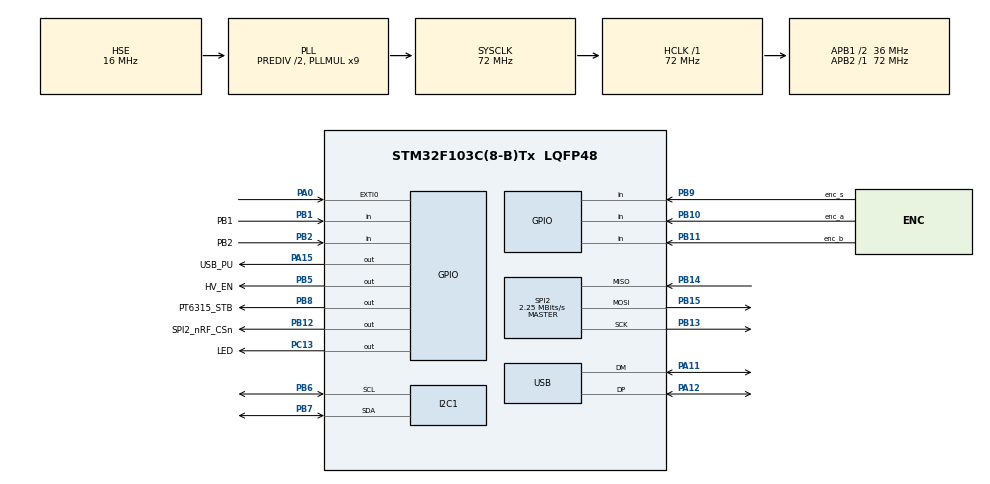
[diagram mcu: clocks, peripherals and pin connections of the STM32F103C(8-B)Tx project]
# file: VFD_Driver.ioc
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Mcu.Family=STM32F1
FREERTOS.Queues01=qUSB_rcv,32,uint8_t,0,Dynamic,NULL,NULL;qVFD,16,uint16_t,0,Dynamic,NULL,NULL
USB_DEVICE.CLASS_NAME_FS=CDC
PB10.GPIO_PuPd=GPIO_PULLUP
SPI2.VirtualType=VM_MASTER
PA11.Mode=Device
NVIC.TIM1_UP_IRQn=true\:0\:0\:false\:false\:true\:false\:false\:true
PB11.GPIO_PuPd=GPIO_PULLUP
PB11.Signal=GPIO_Input
PB13.Signal=SPI2_SCK
PB15.Signal=SPI2_MOSI
RCC.SYSCLKSource=RCC_SYSCLKSOURCE_PLLCLK
ProjectManager.StackSize=0x400
VP_FREERTOS_VS_CMSIS_V2.Mode=CMSIS_V2
PD1-OSC_OUT.Signal=RCC_OSC_OUT
PA15.GPIO_Label=USB_PU
PA12.Signal=USB_DP
SPI2.CLKPolarity=SPI_POLARITY_HIGH
RCC.HCLKFreq_Value=72000000
RCC.APB2TimFreq_Value=72000000
PB6.Signal=I2C1_SCL
PB6.Mode=I2C
RCC.AHBFreq_Value=72000000
SPI2.BaudRatePrescaler=SPI_BAUDRATEPRESCALER_16
RCC.HSE_VALUE=16000000
PB2.Signal=GPIO_Input
RCC.PLLMUL=RCC_PLL_MUL9
PB12.GPIO_Label=SPI2_nRF_CSn
PC13-TAMPER-RTC.PinState=GPIO_PIN_SET
FREERTOS.INCLUDE_xQueueGetMutexHolder=0
PA14.Mode=Serial_Wire
PB14.Mode=Full_Duplex_Master
VP_SYS_VS_tim1.Mode=TIM1
PB1.GPIO_Label=PB1
SPI2.CalculateBaudRate=2.25 MBits/s
PB7.Signal=I2C1_SDA
FREERTOS.configTOTAL_HEAP_SIZE=5020
PB9.Signal=GPIO_Input
Mcu.Package=LQFP48
PB1.Signal=GPIO_Input
NVIC.TimeBase=TIM1_UP_IRQn
SPI2.Mode=SPI_MODE_MASTER
NVIC.TimeBaseIP=TIM1
PB9.GPIO_PuPd=GPIO_PULLUP
PA15.Signal=GPIO_Output
SPI2.CLKPhase=SPI_PHASE_2EDGE
FREERTOS.INCLUDE_vTaskPrioritySet=0
PB5.GPIO_Label=HV_EN
RCC.APB1TimFreq_Value=72000000
SPI2.Direction=SPI_DIRECTION_2LINES
PB13.Mode=Full_Duplex_Master
FREERTOS.Tasks01=defaultTask,24,128,StartDefaultTask,Default,NULL,Dynamic,NULL,NULL;LEDheartbeat,8,128,StartLEDheartbeat,Default,NULL,Dynamic,NULL,NULL;taskUSB_rcv,8,256,StartUSB_rcv,Default,NULL,Dynamic,NULL,NULL;Encoder,8,128,StartEncoder,Default,NULL,Dynamic,NULL,NULL
PD1-OSC_OUT.Mode=HSE-External-Oscillator
PB9.GPIO_Label=enc_s
USB_DEVICE.VirtualModeFS=Cdc_FS
PB11.GPIO_Label=enc_b
PC13-TAMPER-RTC.Signal=GPIO_Output
RCC.USBPrescaler=RCC_USBCLKSOURCE_PLL_DIV1_5
PD0-OSC_IN.Signal=RCC_OSC_IN
RCC.APB1CLKDivider=RCC_HCLK_DIV2
PA0-WKUP.Signal=GPXTI0
PA13.Signal=SYS_JTMS-SWDIO
PB8.GPIO_Label=PT6315_STB
ProjectManager.TargetToolchain=STM32CubeIDE
USB_DEVICE.PRODUCT_STRING_CDC_FS=VFD Driver
PB10.GPIO_Label=enc_a
SPI2.CRCCalculation=SPI_CRCCALCULATION_DISABLE
VP_USB_DEVICE_VS_USB_DEVICE_CDC_FS.Mode=CDC_FS
RCC.USBFreq_Value=48000000
PD0-OSC_IN.Mode=HSE-External-Oscillator
PB10.Signal=GPIO_Input
PB14.Signal=SPI2_MISO
board=custom
PC13-TAMPER-RTC.GPIO_Label=LED
PB15.Mode=Full_Duplex_Master
RCC.APB2Freq_Value=72000000
NVIC.USB_LP_CAN1_RX0_IRQn=true\:5\:0\:false\:false\:true\:true\:false\:true
FREERTOS.INCLUDE_uxTaskPriorityGet=0
PA13.Mode=Serial_Wire
Mcu.Name=STM32F103C(8-B)Tx
NVIC.EXTI0_IRQn=true\:5\:0\:false\:false\:true\:false\:true\:true
RCC.SYSCLKFreq_VALUE=72000000
PB5.Signal=GPIO_Output
PA12.Mode=Device
RCC.HSEDivPLL=RCC_HSE_PREDIV_DIV2
SPI2.FirstBit=SPI_FIRSTBIT_LSB
PA11.Signal=USB_DM
PB7.Mode=I2C
PA14.Signal=SYS_JTCK-SWCLK
PB2.GPIO_Label=PB2
ProjectManager.HeapSize=0x200
FREERTOS.Mutexes01=muI2C,Dynamic,NULL
NVIC.PriorityGroup=NVIC_PRIORITYGROUP_4
PB8.Signal=GPIO_Output
RCC.APB1Freq_Value=36000000
USB_DEVICE.VirtualMode=Cdc
PB12.Signal=GPIO_Output

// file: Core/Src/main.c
/* USER CODE BEGIN Header */
/**
  ******************************************************************************
  * @file           : main.c
  * @brief          : Main program body
  ******************************************************************************
  * @attention
  *
  * <h2><center>&copy; Copyright (c) 2021 STMicroelectronics.
  * All rights reserved.</center></h2>
  *
  * This software component is licensed by ST under BSD 3-Clause license,
  * the "License"; You may not use this file except in compliance with the
  * License. You may obtain a copy of the License at:
  *                        opensource.org/licenses/BSD-3-Clause
  *
  ******************************************************************************
  */

//TODO microrl - separate in library
//TODO enable Watchdog

//TODO PB1 PB2 - buttons
//TODO PB5 HV_EN
//TODO RX2 TX2 PA0 (PSS) - UART

/**
 * 2021 06 21 start of the project
 * Driver for VFD display + clock + playground
 */

/* USER CODE END Header */
#include "main.h"
#include "cmsis_os.h"
#include "i2c.h"
#include "spi.h"
#include "usb_device.h"
#include "gpio.h"

/* USER CODE BEGIN Includes */
#include "microrl.h"
#include "microrl_cmd.h"
#include "usbd_cdc_if.h"

/* USER CODE END Includes */

void SystemClock_Config(void);
void MX_FREERTOS_Init(void);

int main(void)
{

  /* MCU Configuration--------------------------------------------------------*/

  /* Reset of all peripherals, Initializes the Flash interface and the Systick. */
  HAL_Init();

  /* Configure the system clock */
  SystemClock_Config();

  /* Initialize all configured peripherals */
  MX_GPIO_Init();
  MX_SPI2_Init();
  MX_I2C1_Init();

  /* Init scheduler */
  osKernelInitialize();  /* Call init function for freertos objects (in freertos.c) */
  MX_FREERTOS_Init();
  /* Start scheduler */
  osKernelStart();

  /* We should never get here as control is now taken by the scheduler */
  /* Infinite loop */
  while (1)
  {

  }
}

void SystemClock_Config(void)
{
  RCC_OscInitTypeDef RCC_OscInitStruct = {0};
  RCC_ClkInitTypeDef RCC_ClkInitStruct = {0};
  RCC_PeriphCLKInitTypeDef PeriphClkInit = {0};

  /** Initializes the RCC Oscillators according to the specified parameters
  * in the RCC_OscInitTypeDef structure.
  */
  RCC_OscInitStruct.OscillatorType = RCC_OSCILLATORTYPE_HSE;
  RCC_OscInitStruct.HSEState = RCC_HSE_ON;
  RCC_OscInitStruct.HSEPredivValue = RCC_HSE_PREDIV_DIV2;
  RCC_OscInitStruct.HSIState = RCC_HSI_ON;
  RCC_OscInitStruct.PLL.PLLState = RCC_PLL_ON;
  RCC_OscInitStruct.PLL.PLLSource = RCC_PLLSOURCE_HSE;
  RCC_OscInitStruct.PLL.PLLMUL = RCC_PLL_MUL9;
  if (HAL_RCC_OscConfig(&RCC_OscInitStruct) != HAL_OK)
  {
    Error_Handler();
  }
  /** Initializes the CPU, AHB and APB buses clocks
  */
  RCC_ClkInitStruct.ClockType = RCC_CLOCKTYPE_HCLK|RCC_CLOCKTYPE_SYSCLK
                              |RCC_CLOCKTYPE_PCLK1|RCC_CLOCKTYPE_PCLK2;
  RCC_ClkInitStruct.SYSCLKSource = RCC_SYSCLKSOURCE_PLLCLK;
  RCC_ClkInitStruct.AHBCLKDivider = RCC_SYSCLK_DIV1;
  RCC_ClkInitStruct.APB1CLKDivider = RCC_HCLK_DIV2;
  RCC_ClkInitStruct.APB2CLKDivider = RCC_HCLK_DIV1;

  if (HAL_RCC_ClockConfig(&RCC_ClkInitStruct, FLASH_LATENCY_2) != HAL_OK)
  {
    Error_Handler();
  }
  PeriphClkInit.PeriphClockSelection = RCC_PERIPHCLK_USB;
  PeriphClkInit.UsbClockSelection = RCC_USBCLKSOURCE_PLL_DIV1_5;
  if (HAL_RCCEx_PeriphCLKConfig(&PeriphClkInit) != HAL_OK)
  {
    Error_Handler();
  }
}

 /**
  * @brief  Period elapsed callback in non blocking mode
  * @note   This function is called  when TIM1 interrupt took place, inside
  * HAL_TIM_IRQHandler(). It makes a direct call to HAL_IncTick() to increment
  * a global variable "uwTick" used as application time base.
  * @param  htim : TIM handle
  * @retval None
  */
void HAL_TIM_PeriodElapsedCallback(TIM_HandleTypeDef *htim)
{
  if (htim->Instance == TIM1) {
    HAL_IncTick();
  }
}

void Error_Handler(void)
{
  __disable_irq();
  while (1)
  {
  }
}

/************************ (C) COPYRIGHT STMicroelectronics *****END OF FILE****/

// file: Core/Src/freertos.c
/* USER CODE BEGIN Header */
/**
  ******************************************************************************
  * File Name          : freertos.c
  * Description        : Code for freertos applications
  ******************************************************************************
  * @attention
  *
  * <h2><center>&copy; Copyright (c) 2021 STMicroelectronics.
  * All rights reserved.</center></h2>
  *
  * This software component is licensed by ST under Ultimate Liberty license
  * SLA0044, the "License"; You may not use this file except in compliance with
  * the License. You may obtain a copy of the License at:
  *                             www.st.com/SLA0044
  *
  ******************************************************************************
  */
/* USER CODE END Header */

#include "FreeRTOS.h"
#include "task.h"
#include "main.h"
#include "cmsis_os.h"

/* USER CODE BEGIN Includes */
#include "freertos_inc.h"
#include "microrl_cmd.h"
#include "spi.h"
#include "vfd.h"
#include "i2c.h"
#include "d3231.h"
/* USER CODE END Includes */

/* USER CODE BEGIN Variables */
uint16_t encoder_value = 0;
uint16_t tick_counter = 0;

/* USER CODE END Variables */
/* Definitions for defaultTask */
osThreadId_t defaultTaskHandle;
const osThreadAttr_t defaultTask_attributes = {
  .name = "defaultTask",
  .stack_size = 128 * 4,
  .priority = (osPriority_t) osPriorityNormal,
};
/* Definitions for LEDheartbeat */
osThreadId_t LEDheartbeatHandle;
const osThreadAttr_t LEDheartbeat_attributes = {
  .name = "LEDheartbeat",
  .stack_size = 128 * 4,
  .priority = (osPriority_t) osPriorityLow,
};
/* Definitions for taskUSB_rcv */
osThreadId_t taskUSB_rcvHandle;
const osThreadAttr_t taskUSB_rcv_attributes = {
  .name = "taskUSB_rcv",
  .stack_size = 256 * 4,
  .priority = (osPriority_t) osPriorityLow,
};
/* Definitions for Encoder */
osThreadId_t EncoderHandle;
const osThreadAttr_t Encoder_attributes = {
  .name = "Encoder",
  .stack_size = 128 * 4,
  .priority = (osPriority_t) osPriorityLow,
};
/* Definitions for qUSB_rcv */
osMessageQueueId_t qUSB_rcvHandle;
const osMessageQueueAttr_t qUSB_rcv_attributes = {
  .name = "qUSB_rcv"
};
/* Definitions for qVFD */
osMessageQueueId_t qVFDHandle;
const osMessageQueueAttr_t qVFD_attributes = {
  .name = "qVFD"
};
/* Definitions for muI2C */
osMutexId_t muI2CHandle;
const osMutexAttr_t muI2C_attributes = {
  .name = "muI2C"
};

/* USER CODE BEGIN FunctionPrototypes */
#if USE_ENCODER
void process_encoder(void);
#endif

/* USER CODE END FunctionPrototypes */

void StartDefaultTask(void *argument);
void StartLEDheartbeat(void *argument);
void StartUSB_rcv(void *argument);
void StartEncoder(void *argument);

extern void MX_USB_DEVICE_Init(void);
void MX_FREERTOS_Init(void); /* (MISRA C 2004 rule 8.1) */

void MX_FREERTOS_Init(void) {
  /* Create the mutex(es) */
  /* creation of muI2C */
  muI2CHandle = osMutexNew(&muI2C_attributes);

  /* Create the queue(s) */
  /* creation of qUSB_rcv */
  qUSB_rcvHandle = osMessageQueueNew (32, sizeof(uint8_t), &qUSB_rcv_attributes);

  /* creation of qVFD */
  qVFDHandle = osMessageQueueNew (16, sizeof(uint16_t), &qVFD_attributes);

  /* Create the thread(s) */
  /* creation of defaultTask */
  defaultTaskHandle = osThreadNew(StartDefaultTask, NULL, &defaultTask_attributes);

  /* creation of LEDheartbeat */
  LEDheartbeatHandle = osThreadNew(StartLEDheartbeat, NULL, &LEDheartbeat_attributes);

  /* creation of taskUSB_rcv */
  taskUSB_rcvHandle = osThreadNew(StartUSB_rcv, NULL, &taskUSB_rcv_attributes);

  /* creation of Encoder */
  EncoderHandle = osThreadNew(StartEncoder, NULL, &Encoder_attributes);

  /* USER CODE BEGIN RTOS_THREADS */

  qUSB_rcvQueue = qUSB_rcvHandle; // adding to freertos_inc.h
  /* add threads, ... */
  /* USER CODE END RTOS_THREADS */

}

void StartDefaultTask(void *argument)
{
  /* init code for USB_DEVICE */
  MX_USB_DEVICE_Init();
  /* USER CODE BEGIN StartDefaultTask */

  // Enable USB pull-up
  HAL_GPIO_WritePin(USB_PU_GPIO_Port, USB_PU_Pin, GPIO_PIN_SET);
  osDelay(10);
  init_microrl();
  set_CDC_ready(); // allow to send

  //vTaskDelete(NULL);
  /* Infinite loop */
  for(;;)
  {
#if USE_ENCODER
    process_encoder();
#endif
    osDelay(1);
  }
  /* USER CODE END StartDefaultTask */
}

void StartLEDheartbeat(void *argument)
{
  /* USER CODE BEGIN StartLEDheartbeat */
	TickType_t xLastWakeTime;
	const TickType_t xPeriod = 500 / portTICK_PERIOD_MS;
	/* Infinite loop */
	for (;;) {
		xLastWakeTime = xTaskGetTickCount();

		if (use_leds)
			HAL_GPIO_TogglePin(LED_GPIO_Port, LED_Pin);
		else
			HAL_GPIO_WritePin(LED_GPIO_Port, LED_Pin, 1);

		tick_counter++;

		vTaskDelayUntil(&xLastWakeTime, xPeriod);

	}
  /* USER CODE END StartLEDheartbeat */
}

void StartUSB_rcv(void *argument)
{
  /* USER CODE BEGIN StartUSB_rcv */
  /* Infinite loop */
	char buf;

	UBaseType_t uxHighWaterMark, uxHighWaterMark_old;

	/* Inspect our own high water mark on entering the task. */
	uxHighWaterMark_old = uxTaskGetStackHighWaterMark( NULL );
	uxHighWaterMark = uxHighWaterMark_old;

  for(;;)
  {
	  xQueueReceive(qUSB_rcvQueue, &buf, portMAX_DELAY );
	  microrl_print_char(buf);
	  uxHighWaterMark = uxTaskGetStackHighWaterMark( NULL );
	  if (uxHighWaterMark < uxHighWaterMark_old)
	  {
		  uxHighWaterMark_old = uxHighWaterMark;
	  }

  }
  /* USER CODE END StartUSB_rcv */
}

void StartEncoder(void *argument)
{
  /* USER CODE BEGIN StartEncoder */

	static bool invert = true;
	static bool released = true;

	void vfd_update(void)
	{
		uint8_t data = 0b11000000; // command 3, set address to 0
	    HAL_GPIO_WritePin(PT6315_STB_GPIO_Port, PT6315_STB_Pin, 0);
	    HAL_SPI_Transmit(&hspi2, &data, 1, 0xffffffff);
	    HAL_SPI_Transmit(&hspi2, vfd.arr1, sizeof(vfd.arr1), 0xffffffff);
	    HAL_GPIO_WritePin(PT6315_STB_GPIO_Port, PT6315_STB_Pin, 1);
	}

  osDelay(500);
  HAL_GPIO_WritePin(HV_EN_GPIO_Port, HV_EN_Pin, 1);

  for (int i = 0; i < sizeof(vfd.arr1); i++)
  {
	  vfd.arr1[i] = 0xFF;
  }
  uint8_t data;

  data = 0b01000001; // command 2, write to LED port
  HAL_GPIO_WritePin(PT6315_STB_GPIO_Port, PT6315_STB_Pin, 0);
  HAL_SPI_Transmit(&hspi2, &data, 1, 0xffffffff);
  osDelay(10);

  data = 0b1111; // disable LEDs

  HAL_SPI_Transmit(&hspi2, &data, 1, 0xffffffff);
  HAL_GPIO_WritePin(PT6315_STB_GPIO_Port, PT6315_STB_Pin, 1);

  data = 0b01000000; // command 2, write to Display port
  HAL_GPIO_WritePin(PT6315_STB_GPIO_Port, PT6315_STB_Pin, 0);
  HAL_SPI_Transmit(&hspi2, &data, 1, 0xffffffff);
  HAL_GPIO_WritePin(PT6315_STB_GPIO_Port, PT6315_STB_Pin, 1);
  osDelay(10);
  vfd_update();
  osDelay(10);
  // init display, 11 digits 17 segments
  data = 0b00000111; // command 1, 11 digits 17 segments
  HAL_GPIO_WritePin(PT6315_STB_GPIO_Port, PT6315_STB_Pin, 0);
  HAL_SPI_Transmit(&hspi2, &data, 1, 0xffffffff);
  HAL_GPIO_WritePin(PT6315_STB_GPIO_Port, PT6315_STB_Pin, 1);
  osDelay(10);

  for (uint8_t i = 0; i <= 0b111; i++)
  {
	  data = 0b10000000; // command 4
	  data |= 1<<3; // enable/disable display
	  data |= i; // set brightness
	  HAL_GPIO_WritePin(PT6315_STB_GPIO_Port, PT6315_STB_Pin, 0);
	  HAL_SPI_Transmit(&hspi2, &data, 1, 0xffffffff);
	  HAL_GPIO_WritePin(PT6315_STB_GPIO_Port, PT6315_STB_Pin, 1);
	  osDelay(250);
  }

  for (int i = 0; i < 11; i++)
  {
	  for (int b = 0; b < 3; b++) // erasing from right to left
	  {
		  vfd.arr2[i][b] = 0;
	  }
	  vfd_update();
	  osDelay(150);
  }
  osDelay (500);

  //erase everything... just in case
  clr_vfd();

  // fill everything
    for (int j = 1; j < 15; j++)
    {
  	  uint32_t temp = 1<<j;
  	  for (int i = 1; i < 11; i++)
  	  {
  		  for (int b = 0; b < 3; b++)
  		  {
  			  vfd.arr2[i][b] |= (temp>>(b<<3))&0xFF;
  		  }
  	  }
  	  vfd_update();
  	  osDelay(100);
    }

    const uint8_t arr[][2] = {{6, 0},
    				   {0, 0},
					   {0, 1},
					   {0, 4},
					   {0, 3},
					   {0, 5},
					   {0, 2},
					   {0, 6},
					   {1, 16},
					   {1, 15},
					   {2, 16},
					   {2, 15},
					   {3, 16},
					   {3, 15},
					   {4, 16},
					   {4, 15},
					   {5, 16},
					   {5, 15},
					   {6, 16},
					   {6, 15},
					   {8, 16},
					   {8, 15},
					   {9, 16},
					   {10, 16},
					   {10, 15},
    };

    for (int j = 0; j < sizeof(arr)/2; j++)
    {
		for (int b = 0; b < 3; b++)
		  vfd.arr2[arr[j][0]][b] |= ((1<<arr[j][1])>>(b<<3))&0xFF;
		vfd_update();
		osDelay(70);
    }

    osDelay(500);

    //erase everything... just in case
    clr_vfd();

    vfd_update();

	const char * demo = "VFD FV651G";
	while (*demo)
	{
		uint16_t temp = get_char(*(demo++));
		xQueueSendToBack(qVFDHandle, &temp, 100);
	}

  d3231_get_all();

  uint8_t brightness = 0b111-d3231_get_A2M2(); // alarm2 minutes as EEPROM, default max

  data = 0b10000000; // command 4
  data |= 1<<3; // enable/disable display
  data |= brightness&0b111; // set brightness
  HAL_GPIO_WritePin(PT6315_STB_GPIO_Port, PT6315_STB_Pin, 0);
  HAL_SPI_Transmit(&hspi2, &data, 1, 0xffffffff);
  HAL_GPIO_WritePin(PT6315_STB_GPIO_Port, PT6315_STB_Pin, 1);

  /* Infinite loop */
  for(;;)
  {
	  uint16_t buf;
	  // show temperature
	  if (HAL_GPIO_ReadPin(PB1_GPIO_Port, PB1_Pin))
	  {
		  //erase everything...
		  clr_vfd();

		  uint8_t td3231 = *d3231_get_temp();
		  uint8_t td [6];
		  td[0] = 'C';
		  td[1] = 176; //°
		  uint8_t i = 2;
		  while (td3231)
		  {
			  td[i++] = td3231 %10;
			  td3231 /= 10;
		  }
		  if (i>2)
			  td[i] = td3231&(1<<7)?'-':'+';

		  for (int i = 0; i < 6; i++)
		  {
			  buf = get_char(td[i]);

			  vfd.arr2[i+1][0] = buf & 0xFF;
			  vfd.arr2[i+1][1] = (buf>>8)&0xFF;
		  }

		  vfd_update();
		  osDelay(20);
		  while(HAL_GPIO_ReadPin(PB1_GPIO_Port, PB1_Pin)); // wait release
		  osDelay(1000);
		  show_clock = true;
	  }

	  // tune brightness
	  if (HAL_GPIO_ReadPin(PB2_GPIO_Port, PB2_Pin))
	  {
		  brightness = (brightness - 1)&0b111;
		  d3231_set_A2M2(0b111-brightness);

		  save_vfd();
		  clr_vfd();
		  uint32_t bits = 0;
		  for (int i = 2; i < 1 + 2 + brightness; i++)
			  bits |= 1<<i;
		  symbols_vfd(bits);
		  str2vfd("brightness");
		  vfd_update();

		  data = 0b10000000; // command 4
		  data |= 1<<3; // enable/disable display
		  data |= brightness&0b111; // set brightness
		  HAL_GPIO_WritePin(PT6315_STB_GPIO_Port, PT6315_STB_Pin, 0);
		  HAL_SPI_Transmit(&hspi2, &data, 1, 0xffffffff);
		  HAL_GPIO_WritePin(PT6315_STB_GPIO_Port, PT6315_STB_Pin, 1);
		  // todo display BRIGHTNESS and scale
		  osDelay(20);
		  while(HAL_GPIO_ReadPin(PB2_GPIO_Port, PB2_Pin)); // wait release
		  osDelay(100);
		  restore_vfd();
		  vfd_update();
	  }

	  if (show_clock)
	  {
		  uint8_t * time = d3231_get_time();
		  uint8_t clock [4];
		  clock[0] = time[1] & 0xF;
		  clock[1] = (time[1] >> 4) & 0xF;
		  clock[2] = time[2] & 0xF;
		  clock[3] = (time[2] >> 4) & 0xF;

		  //erase everything...
		  clr_vfd();

		  for (int i = 0; i < 4; i++)
		  {
			  buf = get_char(clock[i]);

			  vfd.arr2[4+i][0] = buf & 0xFF;
			  vfd.arr2[4+i][1] = (buf>>8)&0xFF;
		  }

		  if ((time[0]&0b1) == 0)
		  {
				for (int b = 0; b < 3; b++)
				  vfd.arr2[6][b] |= ((1<<0)>>(b<<3))&0xFF;
		  }

		  vfd_update();

	  }
	  else
	  {
		  if(qVFDHandle && xQueueReceive(qVFDHandle, &buf, 1))
		  {
				for (int i = 10; i > 1; i--)
				{
					vfd.arr2[i][0] = vfd.arr2[i-1][0];
					vfd.arr2[i][1] = vfd.arr2[i-1][1];
				}
				vfd.arr2[1][0] = buf & 0xFF;
				vfd.arr2[1][1] = (buf>>8)&0xFF;
				vfd_update();
		  }
	  }

	  if (HAL_GPIO_ReadPin(enc_s_GPIO_Port, enc_s_Pin))
	  {
		  released = true;
	  } else if (released)
	  {
		  released = false;
		  invert = !invert;
	  }

	if(use_leds)
	{
		  data = 0b01000001; // command 2, write to LED port
		  HAL_GPIO_WritePin(PT6315_STB_GPIO_Port, PT6315_STB_Pin, 0);
		  HAL_SPI_Transmit(&hspi2, &data, 1, 0xffffffff);
		  osDelay(10);

		  data = ~(1<<((tick_counter >> 1)&0b11));
	//	  if (invert)
	//		  data =~data;
		  HAL_GPIO_WritePin(HV_EN_GPIO_Port, HV_EN_Pin, invert);

		  HAL_SPI_Transmit(&hspi2, &data, 1, 0xffffffff);
		  HAL_GPIO_WritePin(PT6315_STB_GPIO_Port, PT6315_STB_Pin, 1);
	}

#if USE_ENCODER
	  osDelay(10);
	  data = 0b10000000; // command 4
	  data |= invert<<3; // enable/disable display
	  data |= ((encoder_value >> 2) - 1)&0b111; // set brightness
	  HAL_GPIO_WritePin(PT6315_STB_GPIO_Port, PT6315_STB_Pin, 0);
	  HAL_SPI_Transmit(&hspi2, &data, 1, 0xffffffff);
	  HAL_GPIO_WritePin(PT6315_STB_GPIO_Port, PT6315_STB_Pin, 1);
#endif
	  osDelay(10);
  }
  /* USER CODE END StartEncoder */
}

/* USER CODE BEGIN Application */

#if USE_ENCODER
void process_encoder(void)
{
	static uint8_t old;
	uint8_t new;
	new = (0b01*HAL_GPIO_ReadPin(enc_a_GPIO_Port, enc_a_Pin) +
		   0b10*HAL_GPIO_ReadPin(enc_b_GPIO_Port, enc_b_Pin));
	switch(old)
		{
		case 2:
			{
			if(new == 3) encoder_value++;
			if(new == 0) encoder_value--;
			break;
			}

		case 0:
			{
			if(new == 2) encoder_value++;
			if(new == 1) encoder_value--;
			break;
			}
		case 1:
			{
			if(new == 0) encoder_value++;
			if(new == 3) encoder_value--;
			break;
			}
		case 3:
			{
			if(new == 1) encoder_value++;
			if(new == 2) encoder_value--;
			break;
			}
		}
	old = new;
}
#endif
/* USER CODE END Application */

/************************ (C) COPYRIGHT STMicroelectronics *****END OF FILE****/
